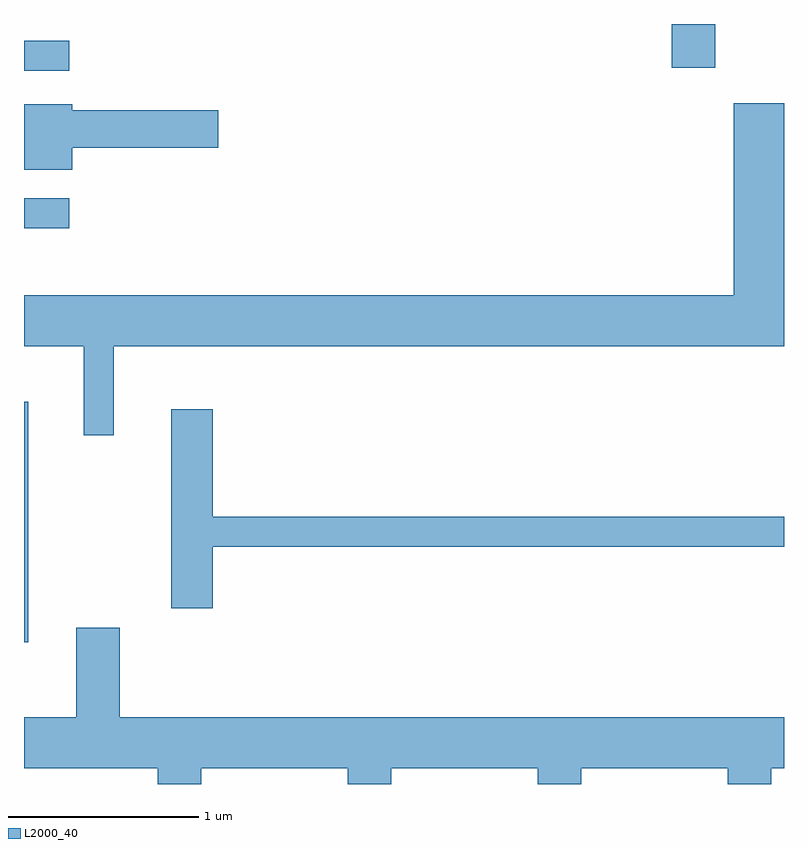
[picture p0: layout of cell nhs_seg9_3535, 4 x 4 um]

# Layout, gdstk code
import gdstk
lib = gdstk.Library(unit=1e-6, precision=1e-09)
def R(c, l, rs):  # rectangles x0, y0, x1, y1
    for r in rs: c.add(gdstk.rectangle(r[:2], r[2:], *l))
def P(c, l, *ps):  # polygons
    for p in ps: c.add(gdstk.Polygon(p, *l))
L2000_40 = (2000, 40)

nhs_seg9_3535 = lib.new_cell('nhs_seg9_3535')
R(nhs_seg9_3535, L2000_40, [(289.611,1959.178,289.634,1960.444), (289.611,1961.356,289.848,1961.514), (289.611,1962.186,289.848,1962.344), (293.021,1962.201,293.249,1962.432)])
P(nhs_seg9_3535, L2000_40, [(290.084,1960.736),(293.611,1960.736),(293.611,1962.014),(293.346,1962.014),(293.346,1961.004),(289.611,1961.004),(289.611,1960.736),(289.926,1960.736),(289.926,1960.268),(290.084,1960.268)],
  [(289.864,1961.781),(290.634,1961.781),(290.634,1961.979),(289.864,1961.979),(289.864,1962.009),(289.611,1962.009),(289.611,1961.666),(289.864,1961.666)],
  [(290.604,1959.681),(293.611,1959.681),(293.611,1959.839),(290.604,1959.839),(290.604,1960.404),(290.386,1960.404),(290.386,1959.356),(290.604,1959.356)],
  [(290.114,1959.254),(289.886,1959.254),(289.886,1958.784),(289.611,1958.784),(289.611,1958.516),(290.316,1958.516),(290.316,1958.432),(290.544,1958.432),(290.544,1958.516),(291.316,1958.516),(291.316,1958.432),(291.544,1958.432),(291.544,1958.516),(292.316,1958.516),(292.316,1958.432),(292.544,1958.432),(292.544,1958.516),(293.316,1958.516),(293.316,1958.432),(293.544,1958.432),(293.544,1958.516),(293.611,1958.516),(293.611,1958.784),(290.114,1958.784)])

lib.write_gds('nhs_seg9_3535.gds')
